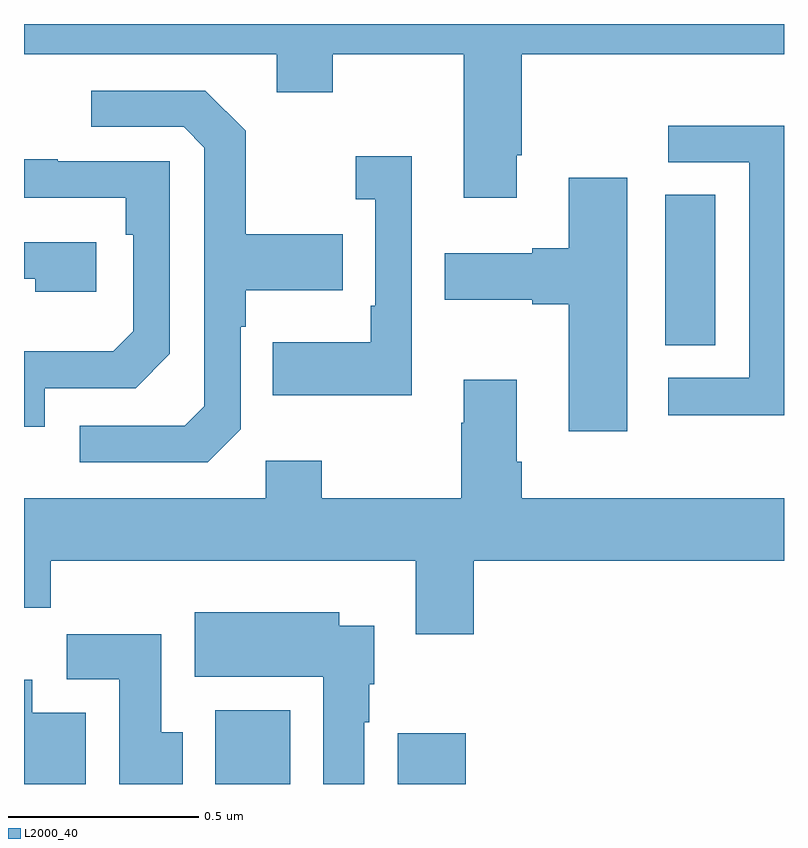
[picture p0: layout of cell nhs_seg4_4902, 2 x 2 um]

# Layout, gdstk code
import gdstk
lib = gdstk.Library(unit=1e-6, precision=1e-09)
def R(c, l, rs):  # rectangles x0, y0, x1, y1
    for r in rs: c.add(gdstk.rectangle(r[:2], r[2:], *l))
def P(c, l, *ps):  # polygons
    for p in ps: c.add(gdstk.Polygon(p, *l))
L2000_40 = (2000, 40)

nhs_seg4_4902 = lib.new_cell('nhs_seg4_4902')
R(nhs_seg4_4902, L2000_40, [(171.503,794.9,171.7,795.094), (171.984,794.9,172.162,795.034), (172.688,796.054,172.819,796.451)])
P(nhs_seg4_4902, L2000_40, [(172.297,796.555),(172.31,796.555),(172.31,796.82),(173,796.82),(173,796.9),(171,796.9),(171,796.82),(171.665,796.82),(171.665,796.721),(171.813,796.721),(171.813,796.82),(172.157,796.82),(172.157,796.443),(172.297,796.443)],
  [(171.57,795.834),(171.57,796.103),(171.583,796.103),(171.583,796.199),(171.839,796.199),(171.839,796.347),(171.583,796.347),(171.583,796.619),(171.477,796.725),(171.177,796.725),(171.177,796.629),(171.42,796.629),(171.474,796.575),(171.474,795.894),(171.423,795.843),(171.147,795.843),(171.147,795.747),(171.483,795.747)],
  [(173,796.632),(172.695,796.632),(172.695,796.536),(172.908,796.536),(172.908,795.969),(172.695,795.969),(172.695,795.871),(173,795.871)],
  [(172.02,796.552),(171.873,796.552),(171.873,796.439),(171.924,796.439),(171.924,796.159),(171.912,796.159),(171.912,796.063),(171.655,796.063),(171.655,795.923),(172.02,795.923)],
  [(171.054,795.942),(171.294,795.942),(171.384,796.032),(171.384,796.539),(171.089,796.539),(171.089,796.544),(171,796.544),(171,796.443),(171.268,796.443),(171.268,796.346),(171.288,796.346),(171.288,796.092),(171.235,796.039),(171,796.039),(171,795.84),(171.054,795.84)],
  [(172.588,796.495),(172.433,796.495),(172.433,796.31),(172.337,796.31),(172.337,796.297),(172.107,796.297),(172.107,796.175),(172.337,796.175),(172.337,796.163),(172.433,796.163),(172.433,795.828),(172.588,795.828)],
  [(171.19,796.326),(171,796.326),(171,796.23),(171.029,796.23),(171.029,796.196),(171.19,796.196)],
  [(172.184,795.488),(173,795.488),(173,795.652),(172.31,795.652),(172.31,795.748),(172.297,795.748),(172.297,795.964),(172.157,795.964),(172.157,795.851),(172.15,795.851),(172.15,795.652),(171.783,795.652),(171.783,795.751),(171.636,795.751),(171.636,795.652),(171,795.652),(171,795.364),(171.071,795.364),(171.071,795.488),(172.031,795.488),(172.031,795.294),(172.184,795.294)],
  [(171.895,795.062),(171.908,795.062),(171.908,795.162),(171.922,795.162),(171.922,795.316),(171.829,795.316),(171.829,795.352),(171.449,795.352),(171.449,795.182),(171.788,795.182),(171.788,794.9),(171.895,794.9)],
  [(171.418,795.036),(171.361,795.036),(171.361,795.294),(171.112,795.294),(171.112,795.176),(171.251,795.176),(171.251,794.9),(171.418,794.9)],
  [(171.163,795.088),(171.022,795.088),(171.022,795.175),(171,795.175),(171,794.9),(171.163,794.9)])

lib.write_gds('nhs_seg4_4902.gds')
